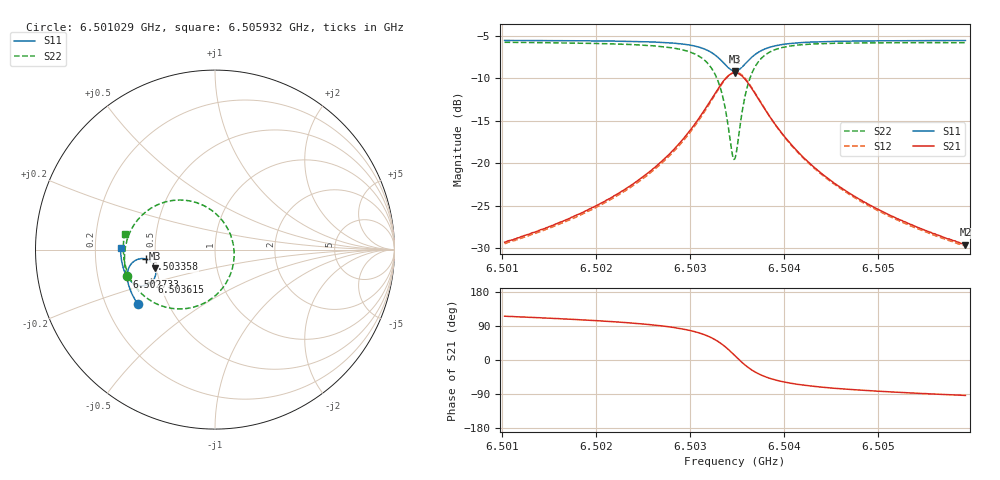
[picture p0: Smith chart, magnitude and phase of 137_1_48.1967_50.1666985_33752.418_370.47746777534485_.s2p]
#  HZ  S  RI  R  50.00
! Rohde & Schwarz Vector Network Analyzer
! Rohde-Schwarz,ZNB20-2Port,1311601062101988,3.16
! Created: UTC 3/20/2024, 11:42:09 AM
! freq[Hz]  re:S11  im:S11  re:S21  im:S21  re:S12  im:S12  re:S22  im:S22
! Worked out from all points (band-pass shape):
!   401 points, 6.501029 GHz to 6.505932 GHz, reference 50 ohm
!   highest |S21| = -9.37 dB at 6.50348 GHz (marker M1); lowest = -29.6 dB at 6.505932 GHz (marker M2)
!   |S21| within 3 dB of the highest: 6.503235 GHz to 6.503725 GHz (490.7 kHz wide, 0.00755 % of centre)
!   lowest |S11| = -9.2 dB at 6.50348 GHz (marker M3), VSWR 2.07, Z = 24.6 - j5.81 ohm
!   |S11| at or under -10 dB: nowhere
!   |S22| runs from -19.5 to -5.8 dB; largest |S21 - S12| = 0.012
!   S11 on the Smith chart (normalised r, x): 6.501029 GHz: 0.34, -0.28; 6.502733 GHz: 0.33, -0.14; 6.503358 GHz: 0.44, -0.05; 6.503615 GHz: 0.45, -0.19; 6.505932 GHz: 0.31, +0.01
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6.5010292e9  -0.4299 -0.304  -0.0149 0.031  -0.0131 0.0311  -0.4924 -0.1462
6.5018504e9  -0.4647 -0.2425  -0.0141 0.0493  -0.0116 0.0488  -0.5042 -0.0573
6.5023161e9  -0.4806 -0.2005  -0.0108 0.0699  -0.00773 0.0686  -0.4997 0.0107
6.5026715e9  -0.4885 -0.1602  -0.00141 0.0994  0.00218 0.0969  -0.4791 0.0846
6.5027328e9  -0.489 -0.1521  0.00177 0.1069  0.0055 0.1039  -0.472 0.1006
6.5029534e9  -0.4853 -0.1168  0.0239 0.1422  0.0277 0.1379  -0.4256 0.1718
6.5031127e9  -0.4706 -0.0847  0.0636 0.1783  0.0665 0.1723  -0.3481 0.2356
6.5032598e9  -0.4326 -0.0549  0.1459 0.207  0.1467 0.2006  -0.1983 0.2764
6.5033578e9  -0.3859 -0.0523  0.2378 0.1901  0.2379 0.1852  -0.0391 0.2324
6.5034436e9  -0.3432 -0.0818  0.3161 0.1148  0.3185 0.1105  0.086 0.084
6.5034681e9  -0.3351 -0.0961  0.3294 0.0829  0.3327 0.0776  0.1027 0.0234
6.5034804e9  -0.3323 -0.1038  0.3336 0.0659  0.3371 0.0601  0.1062 -0.00808
6.5035049e9  -0.3294 -0.1202  0.337 0.0311  0.3408 0.0242  0.1036 -0.0718
6.5035417e9  -0.3316 -0.1442  0.3295 -0.0192  0.3327 -0.0282  0.0758 -0.1609
6.5036152e9  -0.354 -0.1813  0.2824 -0.0956  0.2821 -0.1072  -0.0353 -0.2841
6.5037255e9  -0.3997 -0.2013  0.1952 -0.1408  0.1897 -0.1506  -0.2123 -0.3302
6.5038848e9  -0.4468 -0.1917  0.111 -0.137  0.1039 -0.1421  -0.3638 -0.2813
6.5040564e9  -0.4748 -0.1704  0.0654 -0.116  0.0589 -0.1182  -0.4376 -0.2144
6.5043015e9  -0.4957 -0.1407  0.0347 -0.0905  0.0297 -0.0911  -0.4819 -0.1407
6.5046569e9  -0.511 -0.1029  0.0158 -0.0672  0.0122 -0.0668  -0.5041 -0.0669
6.5051226e9  -0.5208 -0.0591  0.00529 -0.0494  0.00283 -0.0487  -0.5107 0.00106
6.5059315e9  -0.5261 0.00961  -0.00203 -0.0332  -0.00331 -0.0324  -0.5033 0.0883
